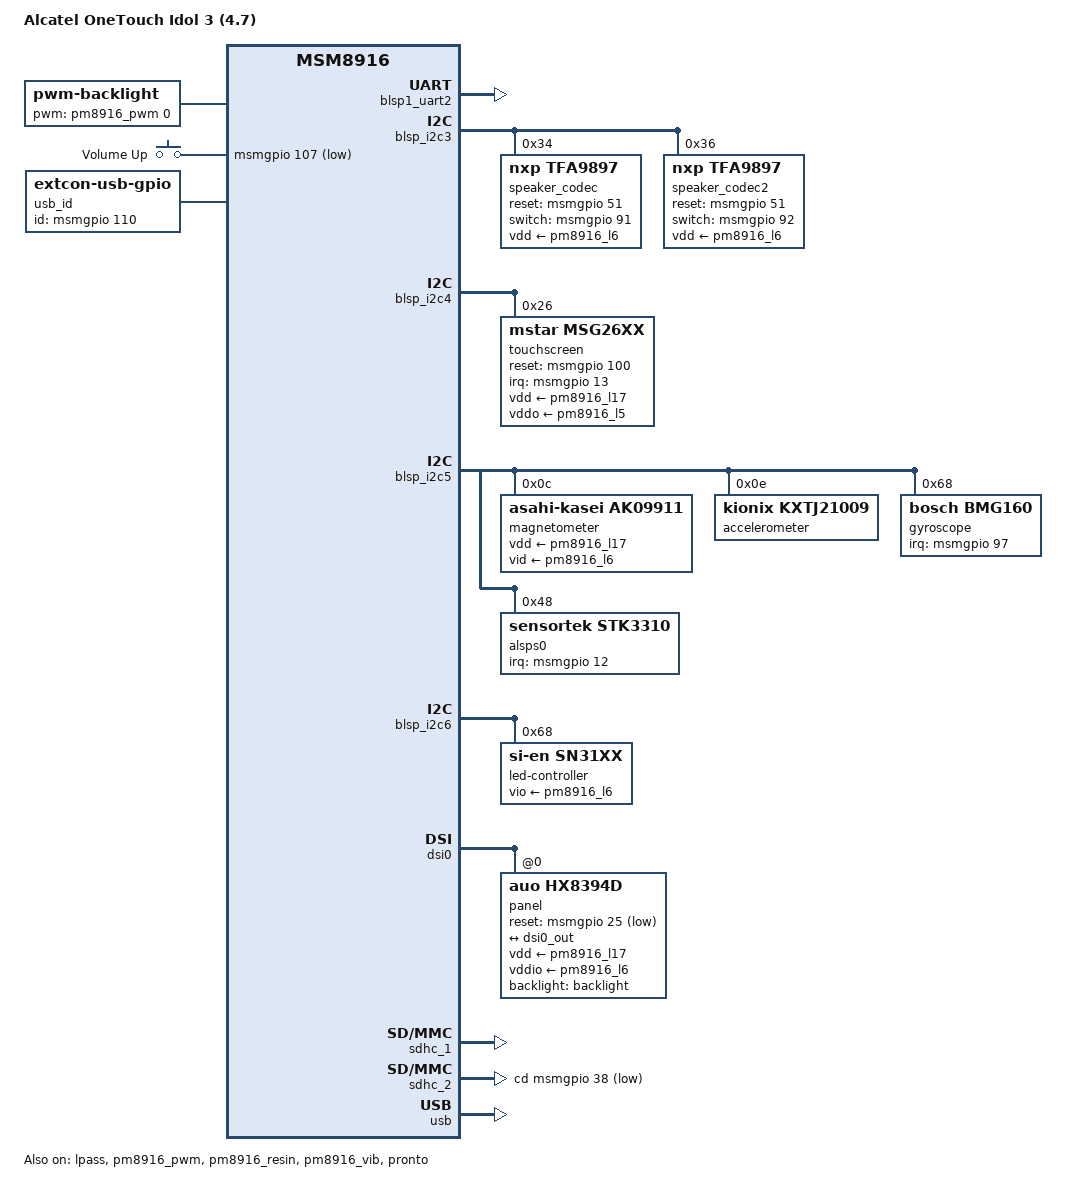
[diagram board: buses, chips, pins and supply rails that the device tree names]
// SPDX-License-Identifier: GPL-2.0-only

/dts-v1/;

#include "msm8916-pm8916.dtsi"
#include "msm8916-no-psci.dtsi"
#include <dt-bindings/gpio/gpio.h>
#include <dt-bindings/input/input.h>
#include <dt-bindings/leds/common.h>
#include <dt-bindings/pinctrl/qcom,pmic-mpp.h>
#include <dt-bindings/sound/apq8016-lpass.h>

/ {
 	model = "Alcatel OneTouch Idol 3 (4.7)";
 	compatible = "alcatel,idol347", "qcom,msm8916";

	aliases {
		serial0 = &blsp1_uart2;
	};

	chosen {
		stdout-path = "serial0";
	};

	reserved-memory {
		/delete-node/ rmtfs@86700000;
		/delete-node/ reserved@8668000; //missing 0 in msm8916.dtsi
		/delete-node/ wcnss@89300000;
		/delete-node/ venus@89900000;
		/delete-node/ mba@8ea00000;

		rmtfs: rmtfs@86680000 {
			compatible = "qcom,rmtfs-mem";
			reg = <0x0 0x86680000 0x0 0x160000>;
			no-map;

			qcom,client-id = <1>;
		};

		mpss_mem: mpss@86800000 {
			//status = "disabled";
			reg = <0x0 0x86800000 0x0 0x5600000>;
			no-map;
		};

		wcnss_mem: wcnss@8be00000 {
			reg = <0x0 0x8be00000 0x0 0x600000>;
			no-map;
		};

		mba_mem: mba@8ea00000 {
			reg = <0x0 0x8ea00000 0x0 0x200000>;
			no-map;
		};

		venus_mem: venus@90000000 {
			reg = <0x0 0x90000000 0x0 0x1200000>;
			no-map;
		};
	};

	backlight: backlight {
		compatible = "pwm-backlight";
		pwms = <&pm8916_pwm 0 100000>;

		brightness-levels = <0 255>;
		num-interpolated-steps = <255>;
		default-brightness-level = <64>;
	};

	gpio-keys {
		compatible = "gpio-keys";

		pinctrl-names = "default";
		pinctrl-0 = <&gpio_keys_default>;

		label = "GPIO Buttons";

		volume-up {
			label = "Volume Up";
			gpios = <&msmgpio 107 GPIO_ACTIVE_LOW>;
			linux,code = <KEY_VOLUMEUP>;
		};
	};

	usb_id: usb-id {
		compatible = "linux,extcon-usb-gpio";
		id-gpio = <&msmgpio 110 GPIO_ACTIVE_HIGH>;
		pinctrl-names = "default";
		pinctrl-0 = <&usb_id_default>;
	};
};

&blsp1_uart2 {
	status = "okay";
};

&blsp_i2c3 {
	speaker_codec: audio-codec@34 {
		compatible = "nxp,tfa9897";
		reg = <0x34>;
		channel = <0>; // 0: left, 1: right
		reset-gpios = <&msmgpio 51 GPIO_ACTIVE_HIGH>;
		switch-gpios = <&msmgpio 91 GPIO_ACTIVE_HIGH>;
		vdd-supply = <&pm8916_l6>;
		#sound-dai-cells = <0>;
	};

	speaker_codec2: audio-codec@36 {
		compatible = "nxp,tfa9897";
		reg = <0x36>;
		channel = <1>;
		reset-gpios = <&msmgpio 51 GPIO_ACTIVE_HIGH>;
		switch-gpios = <&msmgpio 92 GPIO_ACTIVE_HIGH>;
		vdd-supply = <&pm8916_l6>;
		#sound-dai-cells = <0>;
	};
};

&blsp_i2c4 {
	status = "okay";

	touchscreen@26 {
		compatible = "mstar,msg26xx";
		reg = <0x26>;
		vdd-supply = <&pm8916_l17>;
		vddo-supply = <&pm8916_l5>;
		pinctrl-names = "default";
		pinctrl-0 = <&ts_int_active>;
		interrupt-parent = <&msmgpio>;
		interrupts = <13 IRQ_TYPE_EDGE_FALLING>;
		reset-gpios = <&msmgpio 100 GPIO_ACTIVE_HIGH>;

		touchscreen-size-x = <720>;
		touchscreen-size-y = <1280>;
	};

	touchscreen@38 {
		status = "disabled";
		compatible = "edt,edt-ft5406";
		reg = <0x38>;
		vcc-supply = <&pm8916_l5>;
		pinctrl-names = "default";
		pinctrl-0 = <&ts_int_active &ts_reset_active>;
		interrupt-parent = <&msmgpio>;
		interrupts = <13 0x2008>;
		reset-gpios = <&msmgpio 100 GPIO_ACTIVE_LOW>;

		touchscreen-size-x = <720>;
		touchscreen-size-y = <1280>;
	};
};

&blsp_i2c5 {
	status = "okay";

	magnetometer@c {
		compatible = "asahi-kasei,ak09911";
		reg = <0x0c>;
		vdd-supply = <&pm8916_l17>;
		vid-supply = <&pm8916_l6>;
		pinctrl-names = "default";
		pinctrl-0 = <&mag_reset_default>;
		mount-matrix = "0", "1", "0",
			       "-1", "0", "0",
			       "0", "0", "1";
	};

	accelerometer@e {
		compatible = "kionix,kxtj21009";
		reg = <0x0e>;
		mount-matrix = "-1", "0", "0",
			       "0", "-1", "0",
			       "0", "0", "-1";
	};

	gyroscope@68 {
		compatible = "bosch,bmg160";
		reg = <0x68>;
		interrupt-parent = <&msmgpio>;
		interrupts = <97 IRQ_TYPE_EDGE_RISING>; //need 98 too as in ds ?
	};

	alsps0@48 {
		compatible = "sensortek,stk3310";
		reg = <0x48>;
		interrupt-parent = <&msmgpio>;
		interrupts = <12 IRQ_TYPE_EDGE_FALLING>;
	};
};

&blsp_i2c6 {
	status = "okay";

	led-controller@68 {
		compatible = "si-en,sn31xx";
		reg = <0x68>;
		#address-cells = <1>;
		#size-cells = <0>;
		vio-supply = <&pm8916_l6>;

		led@0 {
			reg = <0>;
			function = LED_FUNCTION_INDICATOR;
			color = <LED_COLOR_ID_WHITE>;
			led-max-microamp = <10000>; //5000>;
			enable-gpios = <&msmgpio 102 GPIO_ACTIVE_HIGH>;
			enable2-gpios = <&msmgpio 89 GPIO_ACTIVE_HIGH>;
		};
	};
};

&dsi0 {
	panel@0 {
		compatible = "auo,hx8394d";
		reg = <0>;

		backlight = <&backlight>;
		vdd-supply = <&pm8916_l17>;
		vddio-supply = <&pm8916_l6>;
		reset-gpios = <&msmgpio 25 GPIO_ACTIVE_LOW>;

		port {
			panel_in: endpoint {
				remote-endpoint = <&dsi0_out>;
			};
		};
	};
};

&dsi0_out {
	data-lanes = <0 1 2 3>;
	remote-endpoint = <&panel_in>;
};

&dsi_phy0 {
	qcom,dsi-phy-regulator-ldo-mode;
};

&lpass {
	status = "okay";
};

&msmgpio {
	gpio_keys_default: gpio-keys-default {
		pins = "gpio107";
		function = "gpio";

		drive-strength = <2>;
		bias-pull-up;
	};

	mag_reset_default: mag-reset-default {
		pins = "gpio8";
		function = "gpio";

		drive-strength = <2>;
		bias-disable;
	};

	mdss {
		mdss_active: mdss-active {
			pins = "gpio25";
			function = "gpio";

			drive-strength = <8>;
			bias-disable;
		};
		mdss_suspend: mdss-suspend {
			pins = "gpio25";
			function = "gpio";

			drive-strength = <2>;
			bias-pull-down;
		};
	};

	ts_pins: ts_pins {
		ts_int_active: pmx_ts_int_active {
			pins = "gpio13";
			function = "gpio";

			drive-strength = <16>;
			bias-pull-up;
		};

		ts_reset_active: pmx_ts_reset_active {
			pins = "gpio12";
			function = "gpio";

			drive-strength = <16>;
			bias-pull-up;
		};
	};

	usb_id_default: usb-id-default {
		pins = "gpio110";
		function = "gpio";

		drive-strength = <8>;
		bias-pull-up;
	};
};

&pm8916_mpps {
	pwm_out: mpp4 {
		pinconf {
			pins = "mpp4";
			function = "digital";
			output-low;
			power-source = <PM8916_MPP_L5>;
			qcom,dtest = <1>;
		};
	};
};

&pm8916_pwm {
	status = "okay";
	pinctrl-names = "default";
	pinctrl-0 = <&pwm_out>;
};

&pm8916_resin {
	status = "okay";
	linux,code = <KEY_VOLUMEDOWN>;
};

&pm8916_vib {
	status = "okay";
};

&pronto {
	status = "okay";
};

&sdhc_1 {
	status = "okay";

	pinctrl-names = "default", "sleep";
	pinctrl-0 = <&sdc1_clk_on &sdc1_cmd_on &sdc1_data_on>;
	pinctrl-1 = <&sdc1_clk_off &sdc1_cmd_off &sdc1_data_off>;
};

&sdhc_2 {
	status = "okay";

	pinctrl-names = "default", "sleep";
	pinctrl-0 = <&sdc2_clk_on &sdc2_cmd_on &sdc2_data_on &sdc2_cd_on>;
	pinctrl-1 = <&sdc2_clk_off &sdc2_cmd_off &sdc2_data_off &sdc2_cd_off>;

	cd-gpios = <&msmgpio 38 GPIO_ACTIVE_LOW>;
};

&usb {
	status = "okay";
	extcon = <&usb_id>, <&usb_id>;
};

&usb_hs_phy {
	extcon = <&usb_id>;
};

&sound {
	status = "okay";

	pinctrl-names = "default", "sleep";
	pinctrl-0 = <&cdc_pdm_lines_act &ext_sec_tlmm_lines_act>;
	pinctrl-1 = <&cdc_pdm_lines_sus &ext_sec_tlmm_lines_sus>;

	qcom,model = "alcatel-idol347";
	qcom,audio-routing =
		"AMIC1", "MIC BIAS External1",
		"AMIC2", "MIC BIAS Internal2",
		"AMIC3", "MIC BIAS External1";

	internal-codec-playback-dai-link@0 {
		link-name = "WCD";
		cpu {
			sound-dai = <&lpass MI2S_PRIMARY>;
		};
		codec {
			sound-dai = <&lpass_codec 0>, <&wcd_codec 0>;
		};
	};

	internal-codec-capture-dai-link@0 {
		link-name = "WCD-Capture";
		cpu {
			sound-dai = <&lpass MI2S_TERTIARY>;
		};
		codec {
			sound-dai = <&lpass_codec 1>, <&wcd_codec 1>;
		};
	};

	external-dai-link@0 {
		link-name = "Speaker";
		cpu {
			sound-dai = <&lpass MI2S_QUATERNARY>;
		};
		codec {
			sound-dai = <&speaker_codec>; //, <&speaker_codec2>;
		};
	};
};

&wcd_codec {
	qcom,micbias-lvl = <2800>;
	qcom,mbhc-vthreshold-low = <75 100 120 180 500>;
	qcom,mbhc-vthreshold-high = <75 100 120 180 500>;
	qcom,hphl-jack-type-normally-open;
};

&smd_rpm_regulators {
	vdd_l1_l2_l3-supply = <&pm8916_s3>;
	vdd_l4_l5_l6-supply = <&pm8916_s4>;
	vdd_l7-supply = <&pm8916_s4>;

	s3 {
		regulator-min-microvolt = <1200000>;
		regulator-max-microvolt = <1300000>;
	};

	s4 {
		regulator-min-microvolt = <1800000>;
		regulator-max-microvolt = <2100000>;
	};

	l1 {
		regulator-min-microvolt = <1225000>;
		regulator-max-microvolt = <1225000>;
	};

	l2 {
		regulator-min-microvolt = <1200000>;
		regulator-max-microvolt = <1200000>;
	};

	l4 {
		regulator-min-microvolt = <2050000>;
		regulator-max-microvolt = <2050000>;
	};

	l5 {
		regulator-min-microvolt = <1800000>;
		regulator-max-microvolt = <1800000>;
	};

	l6 {
		regulator-min-microvolt = <1800000>;
		regulator-max-microvolt = <1800000>;
	};

	l7 {
		regulator-min-microvolt = <1800000>;
		regulator-max-microvolt = <1800000>;
	};

	l8 {
		regulator-min-microvolt = <2850000>;
		regulator-max-microvolt = <2900000>;
	};

	l9 {
		regulator-min-microvolt = <3300000>;
		regulator-max-microvolt = <3300000>;
	};

	l10 {
		regulator-min-microvolt = <2700000>;
		regulator-max-microvolt = <2800000>;
	};

	l11 {
		regulator-min-microvolt = <1800000>;
		regulator-max-microvolt = <2950000>;
		regulator-allow-set-load;
		regulator-system-load = <200000>;
	};

	l12 {
		regulator-min-microvolt = <1800000>;
		regulator-max-microvolt = <2950000>;
	};

	l13 {
		regulator-min-microvolt = <3075000>;
		regulator-max-microvolt = <3075000>;
	};

	l14 {
		regulator-min-microvolt = <1800000>;
		regulator-max-microvolt = <3300000>;
	};

	l15 {
		regulator-min-microvolt = <1800000>;
		regulator-max-microvolt = <3300000>;
	};

	l16 {
		regulator-min-microvolt = <1800000>;
		regulator-max-microvolt = <3300000>;
	};

	l17 {
		regulator-min-microvolt = <2850000>;
		regulator-max-microvolt = <2850000>;
	};

	l18 {
		regulator-min-microvolt = <2700000>;
		regulator-max-microvolt = <2700000>;
	};
};
